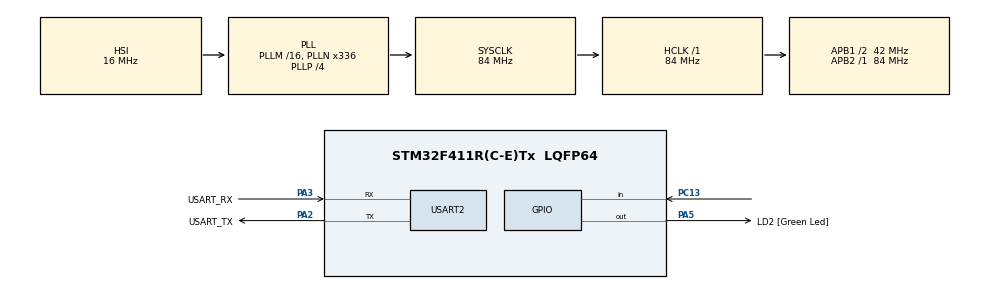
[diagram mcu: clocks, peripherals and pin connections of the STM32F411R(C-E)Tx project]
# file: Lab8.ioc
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Mcu.Family=STM32F4
Mcu.Name=STM32F411R(C-E)Tx
Mcu.Package=LQFP64
NVIC.PriorityGroup=NVIC_PRIORITYGROUP_0
NVIC.USART2_IRQn=true\:0\:0\:false\:false\:true\:true\:true
PA13.GPIO_Label=TMS
PA13.Mode=Serial_Wire
PA13.Signal=SYS_JTMS-SWDIO
PA14.GPIO_Label=TCK
PA14.Mode=Serial_Wire
PA14.Signal=SYS_JTCK-SWCLK
PA2.GPIO_Label=USART_TX
PA2.Mode=Asynchronous
PA2.Signal=USART2_TX
PA3.GPIO_Label=USART_RX
PA3.Mode=Asynchronous
PA3.Signal=USART2_RX
PA5.GPIO_Label=LD2 [Green Led]
PA5.Signal=GPIO_Output
PB3.GPIO_Label=SWO
PB3.Signal=SYS_JTDO-SWO
PC13-ANTI_TAMP.Signal=GPIO_Input
PC14-OSC32_IN.Mode=LSE-External-Oscillator
PC14-OSC32_IN.Signal=RCC_OSC32_IN
PC15-OSC32_OUT.Mode=LSE-External-Oscillator
PC15-OSC32_OUT.Signal=RCC_OSC32_OUT
PH0\ -\ OSC_IN.Mode=HSE-External-Clock-Source
PH0\ -\ OSC_IN.Signal=RCC_OSC_IN
PH1\ -\ OSC_OUT.Mode=HSE-External-Clock-Source
PH1\ -\ OSC_OUT.Signal=RCC_OSC_OUT
ProjectManager.HeapSize=0x200
ProjectManager.StackSize=0x400
ProjectManager.TargetToolchain=STM32CubeIDE
RCC.48MHZClocksFreq_Value=84000000
RCC.AHBFreq_Value=84000000
RCC.APB1CLKDivider=RCC_HCLK_DIV2
RCC.APB1Freq_Value=42000000
RCC.APB1TimFreq_Value=84000000
RCC.APB2Freq_Value=84000000
RCC.APB2TimFreq_Value=84000000
RCC.CortexFreq_Value=84000000
RCC.FLatency-AdvancedSettings=FLASH_LATENCY_2
RCC.HCLKFreq_Value=84000000
RCC.HSE_VALUE=8000000
RCC.HSI_VALUE=16000000
RCC.PLLN=336
RCC.PLLP=RCC_PLLP_DIV4
RCC.SYSCLKFreq_VALUE=84000000
RCC.SYSCLKSource=RCC_SYSCLKSOURCE_PLLCLK
RCC.VCOOutputFreq_Value=336000000
USART2.VirtualMode=VM_ASYNC
board=NUCLEO-F411RE

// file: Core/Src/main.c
/* USER CODE BEGIN Header */
/**
 ******************************************************************************
 * @file           : main.c
 * @brief          : Main program body
 ******************************************************************************
 * @attention
 *
 * <h2><center>&copy; Copyright (c) 2021 STMicroelectronics.
 * All rights reserved.</center></h2>
 *
 * This software component is licensed by ST under BSD 3-Clause license,
 * the "License"; You may not use this file except in compliance with the
 * License. You may obtain a copy of the License at:
 *                        opensource.org/licenses/BSD-3-Clause
 *
 ******************************************************************************
 */
/* USER CODE END Header */
#include "main.h"

/* USER CODE BEGIN Includes */
#include <stdio.h>
#include <string.h>
/* USER CODE END Includes */

UART_HandleTypeDef huart2;

/* USER CODE BEGIN PV */
char TxDataBuffer[110] =
{ 0 };
char RxDataBuffer[32] =
{ 0 };
char Status[15]=
{0};
int status=0;
int Time_blink=1;
uint8_t state =0;
uint8_t ucount=0;
uint8_t pcount=0;
enum Menu{
  Menu_First_Present=0,
  Menu_First=10,
  Menu_LED_Present=20,
  Menu_LED=30,
  Menu_Button_Present=40,
  Menu_Button=50
};
char error[]="-Error-\r\n--------------------------------\r\n";

/* USER CODE END PV */

void SystemClock_Config(void);
static void MX_GPIO_Init(void);
static void MX_USART2_UART_Init(void);
/* USER CODE BEGIN PFP */
int16_t UARTRecieveIT();
/* USER CODE END PFP */

int main(void)
{

  /* MCU Configuration--------------------------------------------------------*/

  /* Reset of all peripherals, Initializes the Flash interface and the Systick. */
  HAL_Init();

  /* Configure the system clock */
  SystemClock_Config();

  /* Initialize all configured peripherals */
  MX_GPIO_Init();
  MX_USART2_UART_Init();
  {
  }

  /* Infinite loop */
  /* USER CODE BEGIN WHILE */
	while (1)
	{
		/*Interrupt Mode*/

		HAL_UART_Receive_IT(&huart2,  (uint8_t*)RxDataBuffer, 32);
		/*Method 2 W/ 1 Char Received*/
		int16_t inputchar = UARTRecieveIT();
		switch (state)
		  {
   case Menu_First_Present:
      sprintf(TxDataBuffer,"press0_to_LED\r\npress1_to_Button\r\n---------------------------------------------\r\n");
      HAL_UART_Transmit(&huart2, (uint8_t*)TxDataBuffer, strlen(TxDataBuffer),10);
      state = Menu_First;
      break;
   case Menu_First:
   switch (inputchar)
   {
   case '0':
     state = Menu_LED_Present;
     break;
   case '1':
     state = Menu_Button_Present;
     break;
   case -1:
     break;
   default:
	   HAL_UART_Transmit(&huart2, (uint8_t*)error, strlen(error),10);
	   	state = Menu_First_Present;
     break;
   }
   break;
    case Menu_LED_Present:
     sprintf(TxDataBuffer,"LED_Control\r\na-increase_frequency\r\ns-decrease_frequency\r\nd-ON/OFF\r\ne-Exit\r\n--------------------------------\r\n");
     HAL_UART_Transmit(&huart2, (uint8_t*)TxDataBuffer, strlen(TxDataBuffer),10);
     state = Menu_LED;
     break;
   case Menu_LED:
   switch (inputchar)
   {
   case 'a':
	   Time_blink+=1;
	   sprintf(Status,"Frequency=[%d]\r\n",Time_blink);
	   HAL_UART_Transmit_IT(&huart2, (uint8_t*)Status, strlen(Status));
	   break;
   case 's':
	   Time_blink-=1;
	   if(Time_blink<=0){
	   	Time_blink=0;
	   }else{

	   }
	   sprintf(Status,"Frequency=[%d]\r\n",Time_blink);
	   HAL_UART_Transmit_IT(&huart2, (uint8_t*)Status, strlen(Status));
       break;
   case 'd':
	   if(status==0){
		   status=1;
		   sprintf(Status,"LED_ON\r\n",Time_blink);
		   HAL_UART_Transmit_IT(&huart2, (uint8_t*)Status, strlen(Status));
	   }else{
		   status=0;
		   sprintf(Status,"LED_OFF\r\n",Time_blink);
		   HAL_UART_Transmit_IT(&huart2, (uint8_t*)Status, strlen(Status));
	   }
	   break;
   case 'e':
     state = Menu_First_Present;
     break;
   case -1:
	 break;
   default:
	   HAL_UART_Transmit(&huart2, (uint8_t*)error, strlen(error),10);
	   state = Menu_LED_Present;
     break;
   }
   break;

   case Menu_Button_Present:
     sprintf(TxDataBuffer,"Button_Status\r\ne-exit\r\n--------------------------------\r\n");
     HAL_UART_Transmit(&huart2, (uint8_t*)TxDataBuffer, strlen(TxDataBuffer),10);
     state = Menu_Button;
     break;
   case Menu_Button:
   switch (inputchar)
   {
   case 'e':
     state = Menu_First_Present;
     break;
   case -1:
	   if(HAL_GPIO_ReadPin(GPIOC, GPIO_PIN_13)==GPIO_PIN_RESET && pcount==0){
	  	  sprintf(Status,"button_press\r\n");
	  	  HAL_UART_Transmit_IT(&huart2, (uint8_t*)Status, strlen(Status));
	     	ucount=0;
	     	pcount=1;
	     }else if(HAL_GPIO_ReadPin(GPIOC, GPIO_PIN_13)==GPIO_PIN_SET && ucount==0){
	     sprintf(Status,"unpress\r\n");
	     HAL_UART_Transmit_IT(&huart2, (uint8_t*)Status, strlen(Status));
	        ucount=1;
	    	pcount=0;
	     }else{
	     }
  	 break;
   default:
	   HAL_UART_Transmit(&huart2, (uint8_t*)error, strlen(error),10);
	   state = Menu_Button_Present;
     break;
   }
   break;
   }

		/*This section just simmulate Work Load*/
if(Time_blink==0 && status==1){
			HAL_GPIO_WritePin(LD2_GPIO_Port,LD2_Pin,GPIO_PIN_SET);
		}else if(status==1){
			HAL_Delay(500/Time_blink);
			HAL_GPIO_TogglePin(LD2_GPIO_Port, LD2_Pin);
		}else if(status==0){
			HAL_GPIO_WritePin(LD2_GPIO_Port,LD2_Pin,GPIO_PIN_RESET);
		}
    /* USER CODE END WHILE */

	}
}

void SystemClock_Config(void)
{
  RCC_OscInitTypeDef RCC_OscInitStruct = {0};
  RCC_ClkInitTypeDef RCC_ClkInitStruct = {0};

  /** Configure the main internal regulator output voltage
  */
  __HAL_RCC_PWR_CLK_ENABLE();
  __HAL_PWR_VOLTAGESCALING_CONFIG(PWR_REGULATOR_VOLTAGE_SCALE1);
  /** Initializes the RCC Oscillators according to the specified parameters
  * in the RCC_OscInitTypeDef structure.
  */
  RCC_OscInitStruct.OscillatorType = RCC_OSCILLATORTYPE_HSI;
  RCC_OscInitStruct.HSIState = RCC_HSI_ON;
  RCC_OscInitStruct.HSICalibrationValue = RCC_HSICALIBRATION_DEFAULT;
  RCC_OscInitStruct.PLL.PLLState = RCC_PLL_ON;
  RCC_OscInitStruct.PLL.PLLSource = RCC_PLLSOURCE_HSI;
  RCC_OscInitStruct.PLL.PLLM = 16;
  RCC_OscInitStruct.PLL.PLLN = 336;
  RCC_OscInitStruct.PLL.PLLP = RCC_PLLP_DIV4;
  RCC_OscInitStruct.PLL.PLLQ = 4;
  if (HAL_RCC_OscConfig(&RCC_OscInitStruct) != HAL_OK)
  {
    Error_Handler();
  }
  /** Initializes the CPU, AHB and APB buses clocks
  */
  RCC_ClkInitStruct.ClockType = RCC_CLOCKTYPE_HCLK|RCC_CLOCKTYPE_SYSCLK
                              |RCC_CLOCKTYPE_PCLK1|RCC_CLOCKTYPE_PCLK2;
  RCC_ClkInitStruct.SYSCLKSource = RCC_SYSCLKSOURCE_PLLCLK;
  RCC_ClkInitStruct.AHBCLKDivider = RCC_SYSCLK_DIV1;
  RCC_ClkInitStruct.APB1CLKDivider = RCC_HCLK_DIV2;
  RCC_ClkInitStruct.APB2CLKDivider = RCC_HCLK_DIV1;

  if (HAL_RCC_ClockConfig(&RCC_ClkInitStruct, FLASH_LATENCY_2) != HAL_OK)
  {
    Error_Handler();
  }
}

static void MX_USART2_UART_Init(void)
{

  huart2.Instance = USART2;
  huart2.Init.BaudRate = 115200;
  huart2.Init.WordLength = UART_WORDLENGTH_8B;
  huart2.Init.StopBits = UART_STOPBITS_1;
  huart2.Init.Parity = UART_PARITY_NONE;
  huart2.Init.Mode = UART_MODE_TX_RX;
  huart2.Init.HwFlowCtl = UART_HWCONTROL_NONE;
  huart2.Init.OverSampling = UART_OVERSAMPLING_16;
  if (HAL_UART_Init(&huart2) != HAL_OK)
  {
    Error_Handler();
  }

}

static void MX_GPIO_Init(void)
{
  GPIO_InitTypeDef GPIO_InitStruct = {0};

  /* GPIO Ports Clock Enable */
  __HAL_RCC_GPIOC_CLK_ENABLE();
  __HAL_RCC_GPIOH_CLK_ENABLE();
  __HAL_RCC_GPIOA_CLK_ENABLE();
  __HAL_RCC_GPIOB_CLK_ENABLE();

  /*Configure GPIO pin Output Level */
  HAL_GPIO_WritePin(LD2_GPIO_Port, LD2_Pin, GPIO_PIN_RESET);

  /*Configure GPIO pin : PC13 */
  GPIO_InitStruct.Pin = GPIO_PIN_13;
  GPIO_InitStruct.Mode = GPIO_MODE_INPUT;
  GPIO_InitStruct.Pull = GPIO_NOPULL;
  HAL_GPIO_Init(GPIOC, &GPIO_InitStruct);

  /*Configure GPIO pin : LD2_Pin */
  GPIO_InitStruct.Pin = LD2_Pin;
  GPIO_InitStruct.Mode = GPIO_MODE_OUTPUT_PP;
  GPIO_InitStruct.Pull = GPIO_NOPULL;
  GPIO_InitStruct.Speed = GPIO_SPEED_FREQ_LOW;
  HAL_GPIO_Init(LD2_GPIO_Port, &GPIO_InitStruct);

}

/* USER CODE BEGIN 4 */
int16_t UARTRecieveIT()
{
	static uint32_t dataPos =0;
	int16_t data=-1;
	if(huart2.RxXferSize - huart2.RxXferCount!=dataPos)
	{
		data=RxDataBuffer[dataPos];
		dataPos= (dataPos+1)%huart2.RxXferSize;
	}
	return data;
}

/* USER CODE END 4 */

void Error_Handler(void)
{
	__disable_irq();
	while (1)
	{
	}
}

/************************ (C) COPYRIGHT STMicroelectronics *****END OF FILE****/
